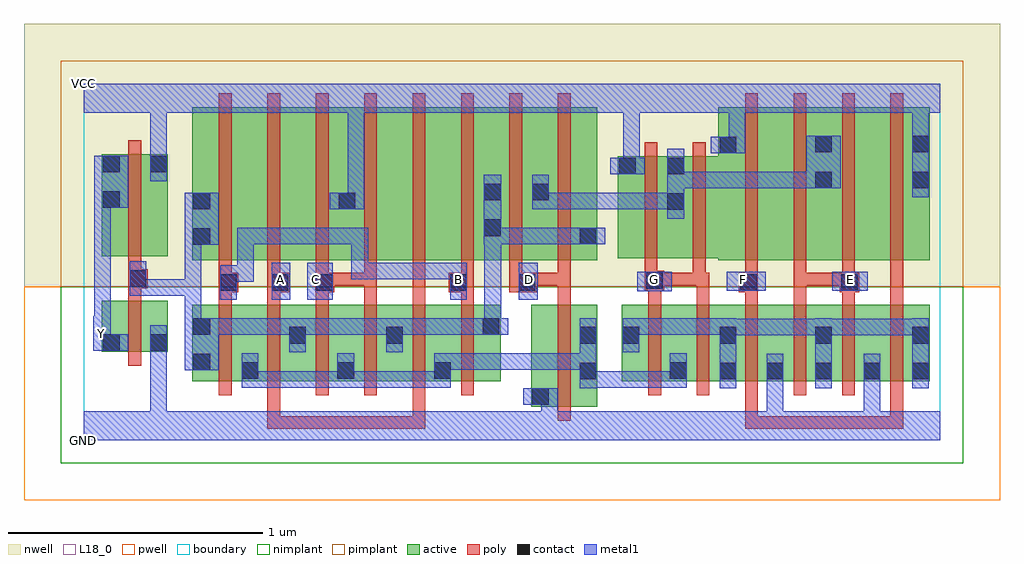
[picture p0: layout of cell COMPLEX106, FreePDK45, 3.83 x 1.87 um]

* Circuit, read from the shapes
.subckt COMPLEX106 A B C D E F G GND VCC Y
M1 GND n1 Y VSUBS nfet w=0.2u l=0.05u
M2 n2 B n1 VSUBS nfet w=0.3u l=0.05u m=2
M3 n1 A n2 VSUBS nfet w=0.3u l=0.05u m=2
M4 n2 C n1 VSUBS nfet w=0.3u l=0.05u m=2
M5 n2 D GND VSUBS nfet w=0.4u l=0.05u
M6 n2 G n3 VSUBS nfet w=0.3u l=0.05u m=2
M7 GND F n3 VSUBS nfet w=0.3u l=0.05u m=2
M8 n3 E GND VSUBS nfet w=0.3u l=0.05u m=2
M9 VCC n1 Y n4 pfet w=0.4u l=0.05u
M10 n5 B n1 n4 pfet w=0.6u l=0.05u
M11 n6 A n5 n4 pfet w=0.6u l=0.05u
M12 VCC C n6 n4 pfet w=0.6u l=0.05u
M13 n7 C VCC n4 pfet w=0.6u l=0.05u
M14 n8 A n7 n4 pfet w=0.6u l=0.05u
M15 n1 B n8 n4 pfet w=0.6u l=0.05u
M16 n9 D n1 n4 pfet w=0.6u l=0.05u m=2
M17 n9 G VCC n4 pfet w=0.4u l=0.05u m=2
M18 n10 F VCC n4 pfet w=0.6u l=0.05u
M19 n9 E n10 n4 pfet w=0.6u l=0.05u
M20 n11 E n9 n4 pfet w=0.6u l=0.05u
M21 VCC F n11 n4 pfet w=0.6u l=0.05u
.ends

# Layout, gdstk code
import gdstk
lib = gdstk.Library(unit=1e-6, precision=1e-09)
def R(c, l, rs):  # rectangles x0, y0, x1, y1
    for r in rs: c.add(gdstk.rectangle(r[:2], r[2:], *l))
def A(c, l, x, y, w, h, nx, ny, dx, dy):  # array of equal rectangles
    R(c, l, [(x+i*dx, y+j*dy, x+i*dx+w, y+j*dy+h) for i in range(nx) for j in range(ny)])
active = (1, 0)
pwell = (2, 0)
nwell = (3, 0)
nimplant = (4, 0)
pimplant = (5, 0)
poly = (9, 0)
contact = (10, 0)
metal1 = (11, 0)
L18_0 = (18, 0)
boundary = (235, 0)

complex106 = lib.new_cell('COMPLEX106')
A(complex106, active, 2.675, 0.232, 0.265, 0.3, 3, 1, 0.19, 0)
R(complex106, active, [(1.755,0.132,2.015,0.532), (1.755,0.135,1.83,0.532), (1.94,0.147,2.015,0.532), (0.425,0.232,0.5,0.532), (0.425,0.232,0.69,0.532), (0.615,0.232,0.875,0.532), (0.615,0.232,0.69,0.392), (0.8,0.232,1.065,0.532), (0.99,0.232,1.065,0.517), (0.99,0.232,1.257,0.532), (1.182,0.232,1.445,0.532), (1.37,0.232,1.635,0.532), (1.37,0.232,1.445,0.405), (2.11,0.232,2.37,0.532), (2.295,0.232,2.565,0.532), (2.295,0.232,2.37,0.392), (2.49,0.232,2.565,0.532), (2.49,0.232,2.75,0.532), (2.675,0.232,2.75,0.437), (2.865,0.232,2.94,0.517), (3.055,0.232,3.13,0.437), (3.245,0.232,3.32,0.532), (0.8,0.247,0.875,0.45), (1.182,0.247,1.257,0.45), (1.56,0.247,1.635,0.532), (2.11,0.247,2.185,0.532), (0.07,0.347,0.145,0.547), (0.07,0.347,0.33,0.547), (0.255,0.347,0.33,0.547), (0.425,0.707,0.65,1.307), (0.425,0.707,0.53,1.2), (0.65,0.707,0.84,1.307), (0.84,0.707,1.07,1.307), (0.995,0.707,1.22,1.307), (0.995,0.707,1.07,1.267), (1.22,0.707,1.41,1.307), (1.41,0.707,1.64,1.307), (1.565,0.707,1.64,1.2), (1.565,0.707,1.83,1.307), (1.755,0.707,1.83,1.2), (1.755,0.707,2.015,1.307), (1.94,0.707,2.015,1.047), (2.49,0.707,2.715,1.307), (2.715,0.707,2.94,1.307), (2.865,0.707,3.095,1.307), (2.865,0.707,2.94,1.2), (3.095,0.707,3.32,1.307), (3.245,0.707,3.32,1.257), (2.095,0.715,2.36,1.115), (2.285,0.715,2.565,1.115), (2.285,0.715,2.36,1.115), (0.07,0.722,0.33,1.122), (0.07,0.722,0.145,1.122), (0.255,0.722,0.33,1.122), (2.49,0.747,2.565,1.307), (2.095,0.907,2.17,1.115)])
R(complex106, pwell, [(-0.235,-0.235,3.595,0.602)])
R(complex106, nwell, [(-0.235,0.602,3.595,1.635)])
R(complex106, nimplant, [(-0.09,-0.09,3.45,0.602)])
R(complex106, pimplant, [(-0.09,0.602,3.45,1.49)])
A(complex106, poly, 0.53, 0.177, 0.05, 0.41, 6, 1, 0.19, 0)
A(complex106, poly, 2.215, 0.177, 0.05, 0.41, 6, 1, 0.19, 0)
A(complex106, poly, 0.53, 0.537, 0.05, 0.095, 3, 1, 0.19, 0)
A(complex106, poly, 2.405, 0.537, 0.05, 0.12, 3, 1, 0.38, 0)
A(complex106, poly, 0.53, 0.607, 0.05, 0.095, 4, 1, 0.19, 0)
A(complex106, poly, 1.48, 0.607, 0.05, 0.095, 3, 1, 0.19, 0)
A(complex106, poly, 2.595, 0.607, 0.05, 0.095, 4, 1, 0.19, 0)
A(complex106, poly, 0.53, 0.652, 0.05, 0.71, 8, 1, 0.19, 0)
A(complex106, poly, 2.595, 0.652, 0.05, 0.71, 4, 1, 0.19, 0)
R(complex106, poly, [(0.72,0.045,0.77,0.095), (0.72,0.045,0.77,0.095), (0.72,0.045,0.77,0.095), (0.72,0.045,0.77,0.227), (0.72,0.045,0.94,0.095), (0.89,0.045,0.94,0.095), (0.89,0.045,0.94,0.095), (0.89,0.045,0.94,0.095), (0.89,0.045,1.207,0.095), (1.157,0.045,1.207,0.095), (1.157,0.045,1.34,0.095), (1.29,0.045,1.34,0.095), (1.29,0.045,1.34,0.095), (1.29,0.045,1.34,0.095), (1.29,0.045,1.34,0.227), (2.595,0.045,2.645,0.095), (2.595,0.045,2.645,0.095), (2.595,0.045,2.645,0.095), (2.595,0.045,2.645,0.227), (2.595,0.045,2.777,0.095), (2.727,0.045,2.777,0.095), (2.727,0.045,2.777,0.095), (2.727,0.045,2.777,0.095), (2.727,0.045,2.967,0.095), (2.917,0.045,2.967,0.095), (2.917,0.045,2.967,0.095), (2.917,0.045,2.967,0.095), (2.917,0.045,3.215,0.095), (3.165,0.045,3.215,0.095), (3.165,0.045,3.215,0.227), (1.86,0.077,1.91,0.587), (0.175,0.292,0.225,0.602), (1.1,0.537,1.15,0.657), (1.29,0.537,1.34,0.632), (1.48,0.537,1.53,0.632), (1.86,0.537,1.91,0.657), (2.215,0.537,2.265,0.64), (2.595,0.537,2.645,0.632), (2.975,0.537,3.025,0.632), (0.175,0.552,0.225,0.647), (0.53,0.582,0.605,0.657), (0.72,0.582,0.807,0.657), (0.907,0.582,0.982,0.657), (1.29,0.582,1.34,0.702), (1.29,0.582,1.34,0.632), (1.432,0.582,1.53,0.657), (1.67,0.582,1.777,0.657), (2.57,0.582,2.645,0.657), (2.967,0.582,3.042,0.657), (2.2,0.59,2.277,0.665), (0.175,0.597,0.25,0.672), (0.932,0.607,1.15,0.657), (1.1,0.607,1.15,0.657), (1.1,0.607,1.15,0.657), (1.1,0.607,1.15,0.657), (1.727,0.607,1.91,0.657), (1.86,0.607,1.91,0.657), (1.86,0.607,1.91,0.657), (1.86,0.607,1.91,0.657), (2.227,0.607,2.44,0.657), (2.39,0.607,2.44,0.657), (2.39,0.607,2.44,0.657), (2.39,0.607,2.44,0.71), (2.39,0.607,2.455,0.657), (2.785,0.607,2.835,0.657), (2.785,0.607,2.835,0.657), (2.785,0.607,2.835,0.657), (2.785,0.607,3.017,0.657), (3.165,0.607,3.215,0.657), (2.2,0.615,2.25,0.71), (0.175,0.622,0.225,0.717), (2.2,0.66,2.25,1.17), (2.39,0.66,2.44,1.17), (0.175,0.667,0.225,1.177)])
A(complex106, contact, 2.68, 0.24, 0.065, 0.065, 4, 1, 0.19, 0)
R(complex106, contact, [(1.76,0.14,1.825,0.205), (1.945,0.24,2.01,0.305), (2.495,0.24,2.56,0.305), (0.62,0.242,0.685,0.307), (0.995,0.242,1.06,0.307), (1.375,0.242,1.44,0.307), (2.3,0.242,2.365,0.307), (0.43,0.275,0.495,0.34), (0.075,0.352,0.14,0.417), (0.26,0.352,0.325,0.417), (0.805,0.38,0.87,0.445), (1.187,0.38,1.252,0.445), (1.945,0.38,2.01,0.445), (2.115,0.38,2.18,0.445), (2.495,0.38,2.56,0.445), (2.87,0.38,2.935,0.445), (3.25,0.38,3.315,0.445), (0.43,0.415,0.495,0.48), (1.565,0.415,1.63,0.48), (0.535,0.587,0.6,0.652), (0.737,0.587,0.802,0.652), (0.912,0.587,0.977,0.652), (1.437,0.587,1.502,0.652), (1.707,0.587,1.772,0.652), (2.575,0.587,2.64,0.652), (2.972,0.587,3.037,0.652), (2.207,0.595,2.272,0.66), (0.18,0.602,0.245,0.667), (0.43,0.767,0.495,0.832), (1.945,0.77,2.01,0.835), (1.57,0.802,1.635,0.867), (2.29,0.905,2.355,0.97), (0.43,0.907,0.495,0.972), (1,0.907,1.065,0.972), (0.075,0.912,0.14,0.977), (1.57,0.942,1.635,1.007), (1.76,0.942,1.825,1.007), (2.87,0.99,2.935,1.055), (3.25,0.99,3.315,1.055), (2.1,1.045,2.165,1.11), (2.29,1.045,2.355,1.11), (0.075,1.052,0.14,1.117), (0.26,1.052,0.325,1.117), (2.495,1.127,2.56,1.192), (2.87,1.13,2.935,1.195), (3.25,1.13,3.315,1.195)])
R(complex106, metal1, [(0,0,3.36,0.115), (0.26,0.05,0.325,0.115), (0.26,0.05,0.325,0.115), (0.26,0.05,0.325,0.115), (0.26,0.05,0.325,0.115), (0.26,0.05,0.325,0.382), (1.795,0.05,1.86,0.205), (2.68,0.05,2.745,0.115), (2.68,0.05,2.745,0.115), (2.68,0.05,2.745,0.27), (3.06,0.05,3.125,0.27), (1.725,0.14,1.86,0.205), (1.945,0.205,2.01,0.48), (2.495,0.205,2.56,0.48), (2.68,0.205,2.745,0.34), (2.87,0.205,2.935,0.48), (3.06,0.205,3.125,0.27), (3.06,0.205,3.125,0.27), (3.06,0.205,3.125,0.34), (3.25,0.205,3.315,0.48), (0.62,0.207,0.685,0.342), (0.62,0.207,0.802,0.272), (0.737,0.207,0.802,0.272), (0.737,0.207,0.822,0.272), (0.757,0.207,0.822,0.272), (0.757,0.207,0.942,0.272), (0.877,0.207,0.942,0.272), (0.877,0.207,1.06,0.272), (0.995,0.207,1.06,0.342), (0.995,0.207,1.115,0.272), (1.05,0.207,1.115,0.272), (1.05,0.207,1.252,0.272), (1.187,0.207,1.252,0.272), (1.187,0.207,1.252,0.272), (1.187,0.207,1.252,0.272), (1.187,0.207,1.44,0.272), (1.375,0.207,1.44,0.342), (1.945,0.207,2.217,0.272), (2.152,0.207,2.217,0.272), (2.152,0.207,2.217,0.272), (2.152,0.207,2.217,0.272), (2.152,0.207,2.365,0.272), (2.3,0.207,2.365,0.342), (0.395,0.275,0.53,0.48), (1.375,0.277,1.44,0.342), (1.375,0.277,1.44,0.342), (1.375,0.277,1.64,0.342), (1.575,0.277,1.64,0.342), (1.575,0.277,1.64,0.342), (1.575,0.277,1.64,0.342), (1.575,0.277,1.837,0.342), (1.772,0.277,1.837,0.342), (1.772,0.277,1.837,0.342), (1.772,0.277,1.837,0.342), (1.772,0.277,2.01,0.342), (0.26,0.317,0.325,0.452), (0.805,0.345,0.87,0.48), (1.187,0.345,1.252,0.48), (2.115,0.345,2.18,0.48), (0.037,0.352,0.105,0.487), (0.04,0.352,0.105,0.417), (0.04,0.352,0.175,0.417), (2.495,0.412,2.56,0.477), (2.495,0.412,2.56,0.477), (2.495,0.412,2.697,0.477), (2.632,0.412,2.697,0.477), (2.632,0.412,2.697,0.477), (2.632,0.412,2.697,0.477), (2.632,0.412,2.935,0.477), (2.87,0.412,3.072,0.477), (3.007,0.412,3.072,0.477), (3.007,0.412,3.072,0.477), (3.007,0.412,3.072,0.477), (3.007,0.412,3.315,0.477), (3.25,0.412,3.315,0.477), (3.25,0.412,3.315,0.477), (0.395,0.415,0.46,0.632), (0.465,0.415,0.665,0.48), (0.6,0.415,0.665,0.48), (0.6,0.415,0.665,0.48), (0.6,0.415,0.665,0.48), (0.6,0.415,0.802,0.48), (0.737,0.415,0.802,0.48), (0.737,0.415,0.87,0.48), (0.805,0.415,0.94,0.48), (0.875,0.415,0.94,0.48), (0.875,0.415,1.115,0.48), (1.05,0.415,1.115,0.48), (1.05,0.415,1.115,0.48), (1.05,0.415,1.115,0.48), (1.05,0.415,1.252,0.48), (1.187,0.415,1.252,0.48), (1.187,0.415,1.252,0.48), (1.187,0.415,1.39,0.48), (1.325,0.415,1.39,0.48), (1.325,0.415,1.39,0.48), (1.325,0.415,1.39,0.48), (1.325,0.415,1.595,0.48), (1.53,0.415,1.665,0.48), (1.572,0.415,1.637,0.832), (2.115,0.415,2.217,0.48), (2.152,0.415,2.217,0.48), (2.152,0.415,2.355,0.48), (2.29,0.415,2.355,0.48), (2.29,0.415,2.355,0.48), (2.29,0.415,2.355,0.48), (2.29,0.415,2.56,0.48), (0.04,0.422,0.105,0.977), (0.535,0.552,0.6,0.687), (0.737,0.552,0.81,0.697), (0.877,0.552,0.977,0.697), (1.437,0.552,1.502,0.697), (1.707,0.552,1.782,0.697), (0.18,0.567,0.245,0.702), (0.18,0.567,0.46,0.632), (0.395,0.567,0.46,0.632), (0.395,0.567,0.46,0.632), (0.395,0.567,0.46,0.632), (0.395,0.567,0.46,0.832), (2.172,0.585,2.307,0.662), (2.522,0.587,2.675,0.662), (2.937,0.587,3.077,0.662), (0.535,0.622,0.667,0.687), (0.602,0.622,0.667,0.687), (0.602,0.622,0.667,0.835), (1.05,0.632,1.115,0.697), (1.05,0.632,1.115,0.697), (1.05,0.632,1.115,0.697), (1.05,0.632,1.252,0.697), (1.05,0.632,1.115,0.835), (1.187,0.632,1.252,0.697), (1.187,0.632,1.252,0.697), (1.187,0.632,1.252,0.697), (1.187,0.632,1.457,0.697), (1.392,0.632,1.457,0.697), (1.392,0.632,1.502,0.697), (0.395,0.767,0.53,0.972), (1.57,0.767,1.637,1.042), (1.572,0.767,1.637,0.832), (1.572,0.767,1.637,0.832), (0.602,0.77,0.667,0.835), (0.602,0.77,0.802,0.835), (0.737,0.77,0.802,0.835), (0.737,0.77,0.842,0.835), (0.777,0.77,0.842,0.835), (0.777,0.77,0.942,0.835), (0.877,0.77,0.942,0.835), (0.877,0.77,1.115,0.835), (1.05,0.77,1.115,0.835), (1.572,0.77,1.64,0.835), (1.575,0.77,1.64,0.835), (1.575,0.77,1.82,0.835), (1.755,0.77,1.82,0.835), (1.755,0.77,1.975,0.835), (1.91,0.77,1.975,0.835), (1.91,0.77,1.975,0.835), (1.91,0.77,2.045,0.835), (2.29,0.87,2.355,1.145), (0.965,0.907,1.1,0.972), (1.035,0.907,1.1,1.35), (1.76,0.907,1.825,1.042), (1.76,0.907,1.992,0.972), (1.927,0.907,1.992,0.972), (1.927,0.907,1.992,0.972), (1.927,0.907,1.992,0.972), (1.927,0.907,2.217,0.972), (2.152,0.907,2.217,0.972), (2.152,0.907,2.217,0.972), (2.152,0.907,2.217,0.972), (2.152,0.907,2.217,0.972), (2.152,0.907,2.217,0.972), (2.152,0.907,2.355,0.972), (0.04,0.912,0.175,1.117), (3.25,0.955,3.315,1.23), (2.29,0.99,2.422,1.055), (2.357,0.99,2.422,1.055), (2.357,0.99,2.56,1.055), (2.495,0.99,2.56,1.055), (2.495,0.99,2.56,1.055), (2.495,0.99,2.56,1.055), (2.495,0.99,2.697,1.055), (2.632,0.99,2.697,1.055), (2.632,0.99,2.697,1.055), (2.632,0.99,2.697,1.055), (2.632,0.99,2.9,1.055), (2.835,0.99,2.97,1.195), (0.26,1.017,0.325,1.152), (2.065,1.045,2.2,1.11), (2.117,1.045,2.182,1.11), (2.117,1.045,2.182,1.11), (2.117,1.045,2.182,1.35), (0.26,1.087,0.325,1.35), (2.46,1.127,2.595,1.192), (2.53,1.127,2.595,1.35), (3.25,1.165,3.315,1.35), (0,1.285,3.36,1.4), (0.26,1.285,0.325,1.35), (0.26,1.285,0.325,1.35)])
R(complex106, L18_0, [(0,0,3.36,0.115), (0.26,0.05,0.325,0.115), (0.26,0.05,0.325,0.115), (0.26,0.05,0.325,0.115), (0.26,0.05,0.325,0.115), (0.26,0.05,0.325,0.382), (1.795,0.05,1.86,0.205), (2.68,0.05,2.745,0.115), (2.68,0.05,2.745,0.115), (2.68,0.05,2.745,0.27), (3.06,0.05,3.125,0.27), (1.725,0.14,1.86,0.205), (2.68,0.205,2.745,0.34), (3.06,0.205,3.125,0.27), (3.06,0.205,3.125,0.27), (3.06,0.205,3.125,0.34), (0.26,0.317,0.325,0.452), (0.037,0.352,0.105,0.487), (0.04,0.352,0.175,0.417), (0.04,0.352,0.105,0.417), (0.037,0.387,0.102,0.452), (0.04,0.422,0.105,0.977), (0.535,0.552,0.6,0.687), (0.737,0.552,0.81,0.697), (0.877,0.552,0.977,0.697), (1.437,0.552,1.502,0.697), (1.707,0.552,1.782,0.697), (2.172,0.585,2.307,0.662), (2.522,0.587,2.675,0.662), (2.937,0.587,3.077,0.662), (0.737,0.597,0.802,0.662), (0.877,0.597,0.942,0.662), (1.437,0.597,1.502,0.662), (1.717,0.597,1.782,0.662), (2.207,0.597,2.272,0.662), (2.557,0.597,2.622,0.662), (2.977,0.597,3.042,0.662), (0.535,0.622,0.667,0.687), (0.602,0.622,0.667,0.687), (0.602,0.622,0.667,0.835), (1.05,0.632,1.115,0.697), (1.05,0.632,1.115,0.697), (1.05,0.632,1.115,0.697), (1.05,0.632,1.115,0.835), (1.05,0.632,1.252,0.697), (1.187,0.632,1.252,0.697), (1.187,0.632,1.252,0.697), (1.187,0.632,1.252,0.697), (1.187,0.632,1.457,0.697), (1.392,0.632,1.457,0.697), (1.392,0.632,1.502,0.697), (0.602,0.77,0.667,0.835), (0.602,0.77,0.802,0.835), (0.737,0.77,0.802,0.835), (0.737,0.77,0.842,0.835), (0.777,0.77,0.842,0.835), (0.777,0.77,0.942,0.835), (0.877,0.77,0.942,0.835), (0.877,0.77,1.115,0.835), (1.05,0.77,1.115,0.835), (0.965,0.907,1.1,0.972), (1.035,0.907,1.1,1.35), (0.04,0.912,0.175,1.117), (3.25,0.955,3.315,1.23), (0.26,1.017,0.325,1.152), (2.065,1.045,2.2,1.11), (2.117,1.045,2.182,1.11), (2.117,1.045,2.182,1.11), (2.117,1.045,2.182,1.35), (0.26,1.087,0.325,1.35), (2.46,1.127,2.595,1.192), (2.53,1.127,2.595,1.35), (3.25,1.165,3.315,1.35), (0,1.285,3.36,1.4), (0.26,1.285,0.325,1.35), (0.26,1.285,0.325,1.35)])
R(complex106, boundary, [(0,0,3.36,1.4)])
complex106.add(gdstk.Label('A', (0.77,0.63), layer=11, texttype=0))
complex106.add(gdstk.Label('B', (1.47,0.63), layer=11, texttype=0))
complex106.add(gdstk.Label('C', (0.91,0.63), layer=11, texttype=0))
complex106.add(gdstk.Label('D', (1.75,0.63), layer=11, texttype=0))
complex106.add(gdstk.Label('E', (3.01,0.63), layer=11, texttype=0))
complex106.add(gdstk.Label('F', (2.59,0.63), layer=11, texttype=0))
complex106.add(gdstk.Label('G', (2.24,0.63), layer=11, texttype=0))
complex106.add(gdstk.Label('Y', (0.07,0.42), layer=11, texttype=0))
complex106.add(gdstk.Label('VCC', (0,1.4), layer=11, texttype=0))
complex106.add(gdstk.Label('GND', (0,0), layer=11, texttype=0))

lib.write_gds('COMPLEX106.gds')
